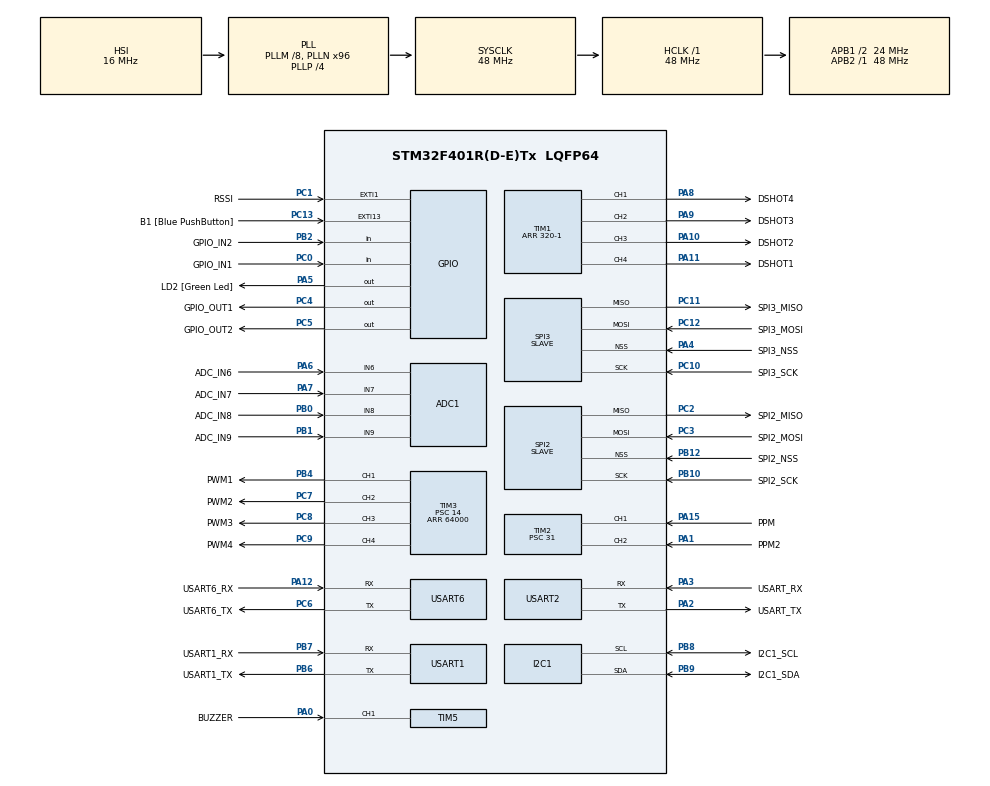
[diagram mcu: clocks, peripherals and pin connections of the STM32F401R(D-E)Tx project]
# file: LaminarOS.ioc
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ADC1.Channel-2\#ChannelRegularConversion=ADC_CHANNEL_6
ADC1.NbrOfConversionFlag=1
ADC1.Rank-2\#ChannelRegularConversion=1
ADC1.SamplingTime-2\#ChannelRegularConversion=ADC_SAMPLETIME_3CYCLES
ADC1.master=1
Dma.Request0=TIM1_CH1
Dma.Request1=TIM1_CH2
Dma.Request2=TIM1_CH3
Dma.Request3=TIM1_CH4/TRIG/COM
Dma.TIM1_CH1.0.Direction=DMA_MEMORY_TO_PERIPH
Dma.TIM1_CH1.0.FIFOMode=DMA_FIFOMODE_DISABLE
Dma.TIM1_CH1.0.Instance=DMA2_Stream1
Dma.TIM1_CH1.0.MemDataAlignment=DMA_MDATAALIGN_WORD
Dma.TIM1_CH1.0.MemInc=DMA_MINC_ENABLE
Dma.TIM1_CH1.0.Mode=DMA_CIRCULAR
Dma.TIM1_CH1.0.PeriphDataAlignment=DMA_PDATAALIGN_WORD
Dma.TIM1_CH1.0.PeriphInc=DMA_PINC_DISABLE
Dma.TIM1_CH1.0.Priority=DMA_PRIORITY_HIGH
Dma.TIM1_CH2.1.Direction=DMA_MEMORY_TO_PERIPH
Dma.TIM1_CH2.1.FIFOMode=DMA_FIFOMODE_DISABLE
Dma.TIM1_CH2.1.Instance=DMA2_Stream2
Dma.TIM1_CH2.1.MemDataAlignment=DMA_MDATAALIGN_WORD
Dma.TIM1_CH2.1.MemInc=DMA_MINC_ENABLE
Dma.TIM1_CH2.1.Mode=DMA_CIRCULAR
Dma.TIM1_CH2.1.PeriphDataAlignment=DMA_PDATAALIGN_WORD
Dma.TIM1_CH2.1.PeriphInc=DMA_PINC_DISABLE
Dma.TIM1_CH2.1.Priority=DMA_PRIORITY_HIGH
Dma.TIM1_CH3.2.Direction=DMA_MEMORY_TO_PERIPH
Dma.TIM1_CH3.2.FIFOMode=DMA_FIFOMODE_DISABLE
Dma.TIM1_CH3.2.Instance=DMA2_Stream6
Dma.TIM1_CH3.2.MemDataAlignment=DMA_MDATAALIGN_WORD
Dma.TIM1_CH3.2.MemInc=DMA_MINC_ENABLE
Dma.TIM1_CH3.2.Mode=DMA_CIRCULAR
Dma.TIM1_CH3.2.PeriphDataAlignment=DMA_PDATAALIGN_WORD
Dma.TIM1_CH3.2.PeriphInc=DMA_PINC_DISABLE
Dma.TIM1_CH3.2.Priority=DMA_PRIORITY_HIGH
Dma.TIM1_CH4/TRIG/COM.3.Direction=DMA_MEMORY_TO_PERIPH
Dma.TIM1_CH4/TRIG/COM.3.FIFOMode=DMA_FIFOMODE_DISABLE
Dma.TIM1_CH4/TRIG/COM.3.Instance=DMA2_Stream4
Dma.TIM1_CH4/TRIG/COM.3.MemDataAlignment=DMA_MDATAALIGN_WORD
Dma.TIM1_CH4/TRIG/COM.3.MemInc=DMA_MINC_ENABLE
Dma.TIM1_CH4/TRIG/COM.3.Mode=DMA_CIRCULAR
Dma.TIM1_CH4/TRIG/COM.3.PeriphDataAlignment=DMA_PDATAALIGN_WORD
Dma.TIM1_CH4/TRIG/COM.3.PeriphInc=DMA_PINC_DISABLE
Dma.TIM1_CH4/TRIG/COM.3.Priority=DMA_PRIORITY_HIGH
FREERTOS.Tasks01=defaultTask,0,128,StartDefaultTask,Default,NULL,Dynamic,NULL,NULL
FREERTOS.configENABLE_FPU=1
FREERTOS.configUSE_NEWLIB_REENTRANT=1
Mcu.Family=STM32F4
Mcu.Name=STM32F401R(D-E)Tx
Mcu.Package=LQFP64
NVIC.DMA2_Stream1_IRQn=true\:5\:0\:false\:false\:true\:true\:false\:true\:true
NVIC.DMA2_Stream2_IRQn=true\:5\:0\:false\:false\:true\:true\:false\:true\:true
NVIC.DMA2_Stream4_IRQn=true\:5\:0\:false\:false\:true\:true\:false\:true\:true
NVIC.DMA2_Stream6_IRQn=true\:5\:0\:false\:false\:true\:true\:false\:true\:true
NVIC.PriorityGroup=NVIC_PRIORITYGROUP_4
NVIC.TIM1_BRK_TIM9_IRQn=true\:5\:0\:false\:false\:true\:false\:false\:true\:true
NVIC.TIM1_TRG_COM_TIM11_IRQn=true\:15\:0\:false\:false\:true\:false\:false\:true\:true
NVIC.TIM1_UP_TIM10_IRQn=true\:5\:0\:false\:false\:true\:false\:false\:true\:true
NVIC.TimeBase=TIM1_TRG_COM_TIM11_IRQn
NVIC.TimeBaseIP=TIM11
PA0-WKUP.GPIO_Label=BUZZER
PA0-WKUP.Signal=S_TIM5_CH1
PA1.GPIO_Label=PPM2
PA1.Signal=S_TIM2_CH2
PA10.GPIO_Label=DSHOT2
PA10.Signal=S_TIM1_CH3
PA11.GPIO_Label=DSHOT1
PA11.Signal=S_TIM1_CH4
PA12.GPIO_Label=USART6_RX
PA12.Mode=Asynchronous
PA12.Signal=USART6_RX
PA13.GPIO_Label=TMS
PA13.Mode=Serial_Wire
PA13.Signal=SYS_JTMS-SWDIO
PA14.GPIO_Label=TCK
PA14.Mode=Serial_Wire
PA14.Signal=SYS_JTCK-SWCLK
PA15.GPIO_Label=PPM
PA15.Signal=S_TIM2_CH1_ETR
PA2.GPIO_Label=USART_TX
PA2.GPIO_Mode=GPIO_MODE_AF_PP
PA2.GPIO_PuPd=GPIO_NOPULL
PA2.GPIO_Speed=GPIO_SPEED_FREQ_LOW
PA2.Mode=Asynchronous
PA2.Signal=USART2_TX
PA3.GPIO_Label=USART_RX
PA3.GPIO_Mode=GPIO_MODE_AF_PP
PA3.GPIO_PuPd=GPIO_NOPULL
PA3.GPIO_Speed=GPIO_SPEED_FREQ_LOW
PA3.Mode=Asynchronous
PA3.Signal=USART2_RX
PA4.GPIO_Label=SPI3_NSS
PA4.Mode=NSS_Signal_Hard_Input
PA4.Signal=SPI3_NSS
PA5.GPIO_Label=LD2 [Green Led]
PA5.GPIO_PuPd=GPIO_NOPULL
PA5.GPIO_Speed=GPIO_SPEED_FREQ_LOW
PA5.Signal=GPIO_Output
PA6.GPIO_Label=ADC_IN6
PA6.Signal=ADCx_IN6
PA7.GPIO_Label=ADC_IN7
PA7.Signal=ADCx_IN7
PA8.GPIO_Label=DSHOT4
PA8.Signal=S_TIM1_CH1
PA9.GPIO_Label=DSHOT3
PA9.Signal=S_TIM1_CH2
PB0.GPIO_Label=ADC_IN8
PB0.Signal=ADCx_IN8
PB1.GPIO_Label=ADC_IN9
PB1.Signal=ADCx_IN9
PB10.GPIO_Label=SPI2_SCK
PB10.Mode=Full_Duplex_Slave
PB10.Signal=SPI2_SCK
PB12.GPIO_Label=SPI2_NSS
PB12.Mode=NSS_Signal_Hard_Input
PB12.Signal=SPI2_NSS
PB2.GPIO_Label=GPIO_IN2
PB2.Signal=GPIO_Input
PB3.GPIO_Label=SWO
PB3.Signal=SYS_JTDO-SWO
PB4.GPIO_Label=PWM1
PB4.Signal=S_TIM3_CH1
PB6.GPIO_Label=USART1_TX
PB6.Mode=Asynchronous
PB6.Signal=USART1_TX
PB7.GPIO_Label=USART1_RX
PB7.Mode=Asynchronous
PB7.Signal=USART1_RX
PB8.GPIO_Label=I2C1_SCL
PB8.Mode=I2C
PB8.Signal=I2C1_SCL
PB9.GPIO_Label=I2C1_SDA
PB9.Mode=I2C
PB9.Signal=I2C1_SDA
PC0.GPIO_Label=GPIO_IN1
PC0.Signal=GPIO_Input
PC1.GPIO_Label=RSSI
PC1.Signal=GPXTI1
PC10.GPIO_Label=SPI3_SCK
PC10.Mode=Full_Duplex_Slave
PC10.Signal=SPI3_SCK
PC11.GPIO_Label=SPI3_MISO
PC11.Mode=Full_Duplex_Slave
PC11.Signal=SPI3_MISO
PC12.GPIO_Label=SPI3_MOSI
PC12.Mode=Full_Duplex_Slave
PC12.Signal=SPI3_MOSI
PC13-ANTI_TAMP.GPIO_Label=B1 [Blue PushButton]
PC13-ANTI_TAMP.GPIO_ModeDefaultEXTI=GPIO_MODE_IT_FALLING
PC13-ANTI_TAMP.GPIO_PuPd=GPIO_NOPULL
PC13-ANTI_TAMP.Signal=GPXTI13
PC14-OSC32_IN.Mode=LSE-External-Oscillator
PC14-OSC32_IN.Signal=RCC_OSC32_IN
PC15-OSC32_OUT.Mode=LSE-External-Oscillator
PC15-OSC32_OUT.Signal=RCC_OSC32_OUT
PC2.GPIO_Label=SPI2_MISO
PC2.Mode=Full_Duplex_Slave
PC2.Signal=SPI2_MISO
PC3.GPIO_Label=SPI2_MOSI
PC3.Mode=Full_Duplex_Slave
PC3.Signal=SPI2_MOSI
PC4.GPIO_Label=GPIO_OUT1
PC4.Signal=GPIO_Output
PC5.GPIO_Label=GPIO_OUT2
PC5.Signal=GPIO_Output
PC6.GPIO_Label=USART6_TX
PC6.Mode=Asynchronous
PC6.Signal=USART6_TX
PC7.GPIO_Label=PWM2
PC7.Signal=S_TIM3_CH2
PC8.GPIO_Label=PWM3
PC8.Signal=S_TIM3_CH3
PC9.GPIO_Label=PWM4
PC9.Signal=S_TIM3_CH4
PH0\ -\ OSC_IN.Mode=HSE-External-Clock-Source
PH0\ -\ OSC_IN.Signal=RCC_OSC_IN
PH1\ -\ OSC_OUT.Mode=HSE-External-Clock-Source
PH1\ -\ OSC_OUT.Signal=RCC_OSC_OUT
ProjectManager.HeapSize=0x200
ProjectManager.StackSize=0x400
ProjectManager.TargetToolchain=STM32CubeIDE
RCC.48MHZClocksFreq_Value=27428571.42857143
RCC.AHBFreq_Value=48000000
RCC.APB1CLKDivider=RCC_HCLK_DIV2
RCC.APB1Freq_Value=24000000
RCC.APB1TimFreq_Value=48000000
RCC.APB2Freq_Value=48000000
RCC.APB2TimFreq_Value=48000000
RCC.CortexFreq_Value=48000000
RCC.HCLKFreq_Value=48000000
RCC.HSE_VALUE=8000000
RCC.HSI_VALUE=16000000
RCC.PLLM=8
RCC.PLLN=96
RCC.PLLP=RCC_PLLP_DIV4
RCC.PLLQ=7
RCC.SYSCLKFreq_VALUE=48000000
RCC.SYSCLKSource=RCC_SYSCLKSOURCE_PLLCLK
RCC.VCOOutputFreq_Value=192000000
SH.ADCx_IN6.0=ADC1_IN6,IN6
SH.ADCx_IN7.0=ADC1_IN7,IN7
SH.ADCx_IN8.0=ADC1_IN8,IN8
SH.ADCx_IN9.0=ADC1_IN9,IN9
SH.S_TIM1_CH1.0=TIM1_CH1,PWM Generation1 CH1
SH.S_TIM1_CH2.0=TIM1_CH2,PWM Generation2 CH2
SH.S_TIM1_CH3.0=TIM1_CH3,PWM Generation3 CH3
SH.S_TIM1_CH4.0=TIM1_CH4,PWM Generation4 CH4
SH.S_TIM2_CH1_ETR.0=TIM2_CH1,Input_Capture1_from_TI1
SH.S_TIM2_CH2.0=TIM2_CH2,Input_Capture2_from_TI2
SH.S_TIM3_CH1.0=TIM3_CH1,PWM Generation1 CH1
SH.S_TIM3_CH2.0=TIM3_CH2,PWM Generation2 CH2
SH.S_TIM3_CH3.0=TIM3_CH3,PWM Generation3 CH3
SH.S_TIM3_CH4.0=TIM3_CH4,PWM Generation4 CH4
SH.S_TIM5_CH1.0=TIM5_CH1,Input_Capture1_from_TI1
SPI2.CLKPhase=SPI_PHASE_2EDGE
SPI2.Direction=SPI_DIRECTION_2LINES
SPI2.Mode=SPI_MODE_SLAVE
SPI2.VirtualNSS=VM_NSSHARD
SPI2.VirtualType=VM_SLAVE
SPI3.CLKPhase=SPI_PHASE_2EDGE
SPI3.Direction=SPI_DIRECTION_2LINES
SPI3.Mode=SPI_MODE_SLAVE
SPI3.VirtualNSS=VM_NSSHARD
SPI3.VirtualType=VM_SLAVE
TIM1.Channel-PWM\ Generation1\ CH1=TIM_CHANNEL_1
TIM1.Channel-PWM\ Generation2\ CH2=TIM_CHANNEL_2
TIM1.Channel-PWM\ Generation3\ CH3=TIM_CHANNEL_3
TIM1.Channel-PWM\ Generation4\ CH4=TIM_CHANNEL_4
TIM1.Period=320-1
TIM2.AutoReloadPreload=TIM_AUTORELOAD_PRELOAD_ENABLE
TIM2.Channel-Input_Capture1_from_TI1=TIM_CHANNEL_1
TIM2.Channel-Input_Capture2_from_TI2=TIM_CHANNEL_2
TIM2.Period=65535
TIM2.Prescaler=31
TIM3.Channel-PWM\ Generation1\ CH1=TIM_CHANNEL_1
TIM3.Channel-PWM\ Generation2\ CH2=TIM_CHANNEL_2
TIM3.Channel-PWM\ Generation3\ CH3=TIM_CHANNEL_3
TIM3.Channel-PWM\ Generation4\ CH4=TIM_CHANNEL_4
TIM3.Period=64000
TIM3.Prescaler=14
TIM5.Channel-Input_Capture1_from_TI1=TIM_CHANNEL_1
TIM5.Period=48000
TIM5.Prescaler=2
USART1.VirtualMode=VM_ASYNC
USART2.VirtualMode=VM_ASYNC
USART6.VirtualMode=VM_ASYNC
VP_ADC1_Vbat_Input.Mode=IN-Vbat
VP_FREERTOS_VS_CMSIS_V1.Mode=CMSIS_V1
VP_SYS_VS_tim11.Mode=TIM11
VP_TIM1_VS_ClockSourceINT.Mode=Internal
VP_TIM2_VS_ClockSourceINT.Mode=Internal
VP_TIM3_VS_ClockSourceINT.Mode=Internal
VP_TIM5_VS_ClockSourceINT.Mode=Internal
board=NUCLEO-F401RE

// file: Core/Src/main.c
/* USER CODE BEGIN Header */
/**
  ******************************************************************************
  * @file           : main.c
  * @brief          : Main program body
  ******************************************************************************
  * @attention
  *
  * Copyright (c) 2022 STMicroelectronics.
  * All rights reserved.
  *
  * This software is licensed under terms that can be found in the LICENSE file
  * in the root directory of this software component.
  * If no LICENSE file comes with this software, it is provided AS-IS.
  *
  ******************************************************************************
  */
/* USER CODE END Header */
#include "main.h"
#include "cmsis_os.h"
#include "adc.h"
#include "dma.h"
#include "i2c.h"
#include "spi.h"
#include "tim.h"
#include "usart.h"
#include "gpio.h"

void SystemClock_Config(void);
void MX_FREERTOS_Init(void);

int main(void)
{

  /* MCU Configuration--------------------------------------------------------*/

  /* Reset of all peripherals, Initializes the Flash interface and the Systick. */
  HAL_Init();

  /* Configure the system clock */
  SystemClock_Config();

  /* Initialize all configured peripherals */
  MX_GPIO_Init();
  MX_USART2_UART_Init();
  MX_DMA_Init();
  MX_TIM3_Init();
  MX_TIM1_Init();
  MX_ADC1_Init();
  MX_I2C1_Init();
  MX_SPI2_Init();
  MX_SPI3_Init();
  MX_TIM2_Init();
  MX_TIM5_Init();
  MX_USART1_UART_Init();
  MX_USART6_UART_Init();

  /* Call init function for freertos objects (in freertos.c) */
  // MX_FREERTOS_Init();

  /* Start scheduler */
  osKernelStart();

  /* We should never get here as control is now taken by the scheduler */
  /* Infinite loop */
  while (1)
  {

  }
}

void SystemClock_Config(void)
{
  RCC_OscInitTypeDef RCC_OscInitStruct = {0};
  RCC_ClkInitTypeDef RCC_ClkInitStruct = {0};

  /** Configure the main internal regulator output voltage
  */
  __HAL_RCC_PWR_CLK_ENABLE();
  __HAL_PWR_VOLTAGESCALING_CONFIG(PWR_REGULATOR_VOLTAGE_SCALE2);

  /** Initializes the RCC Oscillators according to the specified parameters
  * in the RCC_OscInitTypeDef structure.
  */
  RCC_OscInitStruct.OscillatorType = RCC_OSCILLATORTYPE_HSI;
  RCC_OscInitStruct.HSIState = RCC_HSI_ON;
  RCC_OscInitStruct.HSICalibrationValue = RCC_HSICALIBRATION_DEFAULT;
  RCC_OscInitStruct.PLL.PLLState = RCC_PLL_ON;
  RCC_OscInitStruct.PLL.PLLSource = RCC_PLLSOURCE_HSI;
  RCC_OscInitStruct.PLL.PLLM = 8;
  RCC_OscInitStruct.PLL.PLLN = 96;
  RCC_OscInitStruct.PLL.PLLP = RCC_PLLP_DIV4;
  RCC_OscInitStruct.PLL.PLLQ = 7;
  if (HAL_RCC_OscConfig(&RCC_OscInitStruct) != HAL_OK)
  {
    Error_Handler();
  }

  /** Initializes the CPU, AHB and APB buses clocks
  */
  RCC_ClkInitStruct.ClockType = RCC_CLOCKTYPE_HCLK|RCC_CLOCKTYPE_SYSCLK
                              |RCC_CLOCKTYPE_PCLK1|RCC_CLOCKTYPE_PCLK2;
  RCC_ClkInitStruct.SYSCLKSource = RCC_SYSCLKSOURCE_PLLCLK;
  RCC_ClkInitStruct.AHBCLKDivider = RCC_SYSCLK_DIV1;
  RCC_ClkInitStruct.APB1CLKDivider = RCC_HCLK_DIV2;
  RCC_ClkInitStruct.APB2CLKDivider = RCC_HCLK_DIV1;

  if (HAL_RCC_ClockConfig(&RCC_ClkInitStruct, FLASH_LATENCY_1) != HAL_OK)
  {
    Error_Handler();
  }
}

void HAL_TIM_PeriodElapsedCallback(TIM_HandleTypeDef *htim)
{
  if (htim->Instance == TIM11) {
    HAL_IncTick();
  }
}

void Error_Handler(void)
{
  __disable_irq();
  while (1)
  {
  }
}

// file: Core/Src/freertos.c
/* USER CODE BEGIN Header */
/**
 ******************************************************************************
 * File Name          : freertos.c
 * Description        : Code for freertos applications
 ******************************************************************************
 * @attention
 *
 * Copyright (c) 2022 STMicroelectronics.
 * All rights reserved.
 *
 * This software is licensed under terms that can be found in the LICENSE file
 * in the root directory of this software component.
 * If no LICENSE file comes with this software, it is provided AS-IS.
 *
 ******************************************************************************
 */
/* USER CODE END Header */

#include "FreeRTOS.h"
#include "task.h"
#include "main.h"
#include "cmsis_os.h"

/* USER CODE BEGIN Includes */
#include "../../SensorFusion/Inc/SF_Interface.h"
#include "../../SensorFusion/Inc/SensorFusion.hpp"
#include "../../AttitudeManager/Inc/AM_Interface.h"
/* USER CODE END Includes */

/* USER CODE BEGIN Variables */

osThreadId attitudeManagerHandle;
osThreadId sensorFusionHandle;

/* USER CODE END Variables */
osThreadId defaultTaskHandle;

/* USER CODE BEGIN FunctionPrototypes */

void attitudeManagerExecute(void const *argument);
void sensorFusionExecute(void const *argument);
/* USER CODE END FunctionPrototypes */

void StartDefaultTask(void const *argument);

void MX_FREERTOS_Init(void); /* (MISRA C 2004 rule 8.1) */

/* GetIdleTaskMemory prototype (linked to static allocation support) */
void vApplicationGetIdleTaskMemory(StaticTask_t **ppxIdleTaskTCBBuffer,
		StackType_t **ppxIdleTaskStackBuffer, uint32_t *pulIdleTaskStackSize);

/* USER CODE BEGIN GET_IDLE_TASK_MEMORY */
static StaticTask_t xIdleTaskTCBBuffer;
static StackType_t xIdleStack[configMINIMAL_STACK_SIZE];

void vApplicationGetIdleTaskMemory(StaticTask_t **ppxIdleTaskTCBBuffer,
		StackType_t **ppxIdleTaskStackBuffer, uint32_t *pulIdleTaskStackSize) {
	*ppxIdleTaskTCBBuffer = &xIdleTaskTCBBuffer;
	*ppxIdleTaskStackBuffer = &xIdleStack[0];
	*pulIdleTaskStackSize = configMINIMAL_STACK_SIZE;
	/* place for user code */
}
/* USER CODE END GET_IDLE_TASK_MEMORY */

/* Hook prototypes */
void vApplicationStackOverflowHook(xTaskHandle xTask, signed char *pcTaskName);

/* USER CODE BEGIN 4 */
__weak void vApplicationStackOverflowHook(xTaskHandle xTask,
		signed char *pcTaskName) {
	/* Run time stack overflow checking is performed if
	 configCHECK_FOR_STACK_OVERFLOW is defined to 1 or 2. This hook function is
	 called if a stack overflow is detected. */
	while (1) {
//    HAL_GPIO_WritePin(LED3_GPIO_Port, LED3_Pin, GPIO_PIN_SET);
		for (int i = 0; i < 1000000; i++) {
		}
//    HAL_GPIO_WritePin(LED3_GPIO_Port, LED3_Pin, GPIO_PIN_RESET);
		for (int i = 0; i < 9000000; i++) {
		}
	}

}
/* USER CODE END 4 */

void MX_FREERTOS_Init(void) {
	/* USER CODE BEGIN Init */

	// attitudeManagerInterfaceInit();
	AM_interfaceInit();
	/* USER CODE END Init */

	/* Create the thread(s) */
	/* definition and creation of defaultTask */
	osThreadDef(defaultTask, StartDefaultTask, osPriorityNormal, 0, 128);
	defaultTaskHandle = osThreadCreate(osThread(defaultTask), NULL);

	/* definition and creation of attitudeManager */
	osThreadDef(attitudeManager, attitudeManagerExecute, osPriorityNormal, 0,
			256);
	attitudeManagerHandle = osThreadCreate(osThread(attitudeManager), NULL);

	/* definition and creation of sensorFusion */
	osThreadDef(sensorFusion, sensorFusionExecute, osPriorityNormal, 0, 2000);
	sensorFusionHandle = osThreadCreate(osThread(sensorFusion), NULL);

	/* USER CODE END RTOS_THREADS */

}

void StartDefaultTask(void const *argument) {
	for (;;) {
		osDelay(1);
	}
}

void sensorFusionExecute(void const *argument) {
	/* USER CODE BEGIN sensorFusionExecute */
	TickType_t xLastWakeTime;
	const TickType_t xTimeIncrement = 25;
	/* Inspect our own high water mark on entering the task. */
	UBaseType_t uxHighWaterMark = uxTaskGetStackHighWaterMark( NULL);

	/* Infinite loop */
	for (;;) {
		// Initialise the xLastWakeTime variable with the current time.
		xLastWakeTime = xTaskGetTickCount();

		// TODO: Re-add RSSI_CHECK
		// RSSI_Check();
		//HAL_GPIO_WritePin(LD2_GPIO_Port, LD2_Pin, GPIO_PIN_RESET);
		SensorFusionInterfaceExecute();
		uxHighWaterMark = uxTaskGetStackHighWaterMark( NULL);
		vTaskDelayUntil(&xLastWakeTime, xTimeIncrement);
	}
	/* USER CODE END sensorFusionExecute */
}

/* USER CODE BEGIN Application */
/* attitudeManagerExecute function */
void attitudeManagerExecute(void const *argument) {

	/* USER CODE BEGIN attitudeManagerExecute */
	TickType_t xLastWakeTime;
	const TickType_t xTimeIncrement = 20;
	UBaseType_t uxHighWaterMark = uxTaskGetStackHighWaterMark( NULL);
	/* Infinite loop */
	for (;;) {
		// TODO: Re-add RSSI_CHECK
		//RSSI_Check();
		xLastWakeTime = xTaskGetTickCount();

		//HAL_GPIO_WritePin(LD2_GPIO_Port, LD2_Pin, GPIO_PIN_SET);
		AM_interfaceExecute();
		uxHighWaterMark = uxTaskGetStackHighWaterMark( NULL );
		vTaskDelayUntil(&xLastWakeTime, xTimeIncrement);
	}

	/* USER CODE END attitudeManagerExecute */
}
/* USER CODE END sensorFusionExecute */
/* USER CODE END Application */
